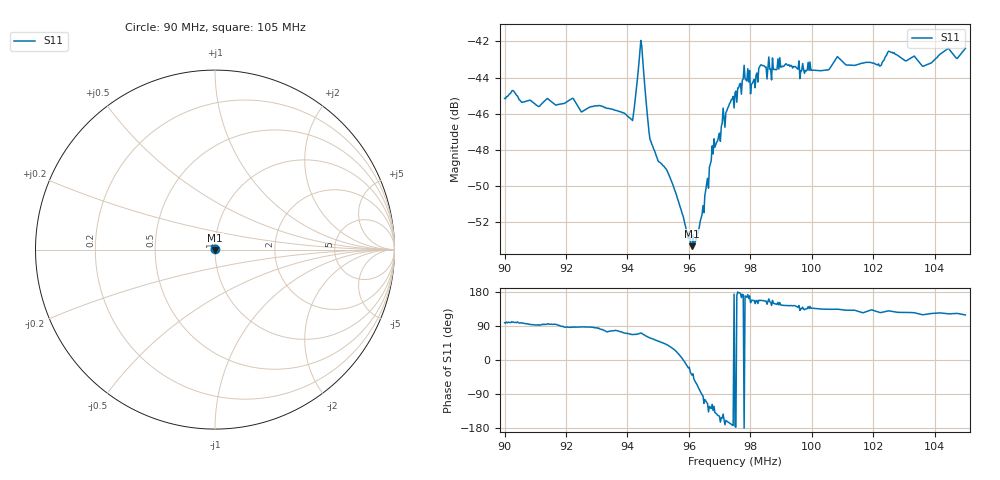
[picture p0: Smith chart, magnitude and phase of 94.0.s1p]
# HZ S RI R 50
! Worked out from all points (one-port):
!   505 points, 90 MHz to 105 MHz, reference 50 ohm
!   lowest |S11| = -53.3 dB at 96.1 MHz (marker M1), VSWR 1.00, Z = 50.2 - j0.14 ohm
!   |S11| at or under -10 dB: start of sweep to end of sweep
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9e7  -0.000801 0.00547
9.026786e7  -0.000982 0.00573
9.107143e7  -0.000205 0.00527
9.187501e7  0.000131 0.00534
9.375001e7  0.00131 0.00492
9.416668e7  0.00186 0.00443
9.443454e7  0.00258 0.00757
9.449406e7  0.00258 0.00663
9.467263e7  0.00233 0.0041
9.476192e7  0.00227 0.00354
9.562502e7  0.00276 0.000974
9.610121e7  0.00165 -0.0014
9.622026e7  0.00114 -0.00193
9.642859e7  -8.59e-05 -0.00264
9.68155e7  -0.00227 -0.00362
9.750002e7  -0.00572 -0.000411
9.779764e7  -0.00683 -1.52e-05
9.80655e7  -0.00561 0.00235
9.836312e7  -0.00632 0.00264
9.937503e7  -0.00534 0.00406
1.004762e8  -0.0046 0.00477
1.008631e8  -0.00498 0.00516
1.0125e8  -0.00451 0.00513
1.022024e8  -0.00395 0.00553
1.025298e8  -0.00473 0.00576
1.03125e8  -0.00411 0.00574
1.036608e8  -0.0034 0.00589
1.05e8  -0.00367 0.00665
